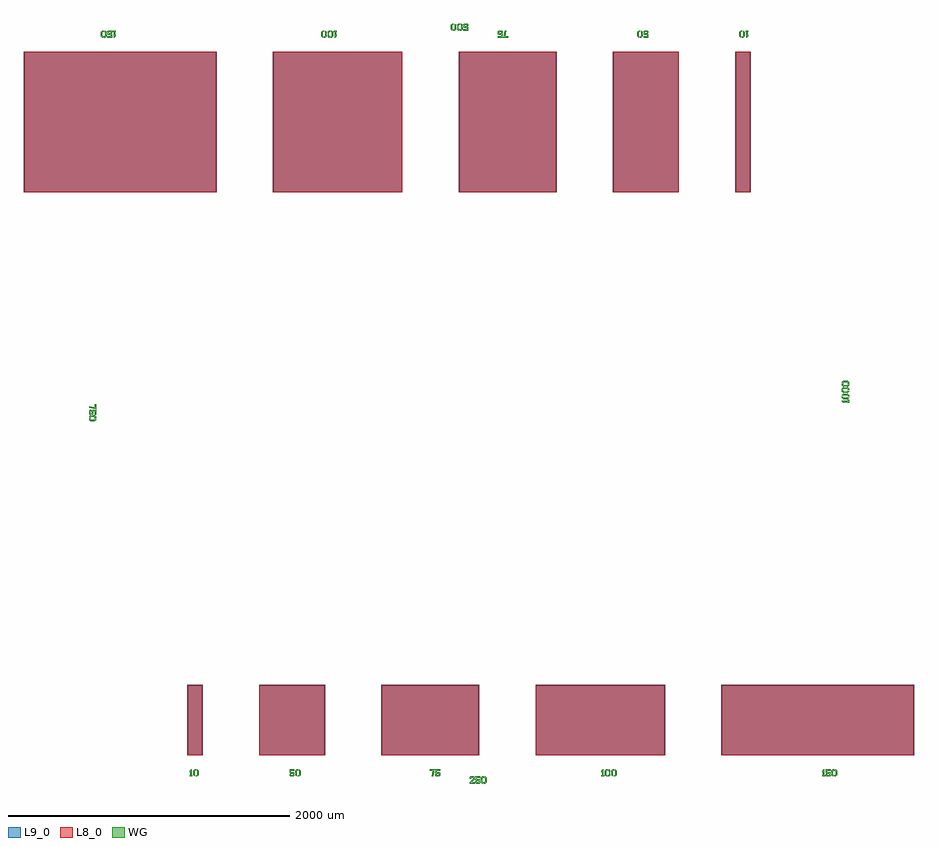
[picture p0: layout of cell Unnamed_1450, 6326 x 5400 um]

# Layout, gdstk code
from math import pi, radians
import gdstk
lib = gdstk.Library(unit=1e-6, precision=1e-09)
def R(c, l, rs):  # rectangles x0, y0, x1, y1
    for r in rs: c.add(gdstk.rectangle(r[:2], r[2:], *l))
def P(c, l, *ps):  # polygons
    for p in ps: c.add(gdstk.Polygon(p, *l))
WG = (1, 0)
L8_0 = (8, 0)
L9_0 = (9, 0)

unnamed_1446 = lib.new_cell('Unnamed_1446')

unnamed_1445 = lib.new_cell('Unnamed_1445')

unnamed_1449 = lib.new_cell('Unnamed_1449')

unnamed_1444 = lib.new_cell('Unnamed_1444')

text_t1000_s50_p0_0_jlef = lib.new_cell('text_T1000_S50_P0_0_Jleft_L1_0')
P(text_t1000_s50_p0_0_jlef, WG, [(48.5,0),(51,10),(55,10),(60,15),(60,35),(55,40),(57.5,50),(60,50),(70,40),(70,10),(60,0)],
  [(93.5,0),(96,10),(100,10),(105,15),(105,35),(100,40),(102.5,50),(105,50),(115,40),(115,10),(105,0)],
  [(138.5,0),(141,10),(145,10),(150,15),(150,35),(145,40),(147.5,50),(150,50),(160,40),(160,10),(150,0)],
  [(40,0),(30,10),(30,40),(40,50),(51.5,50),(49,40),(45,40),(40,35),(40,15),(45,10),(42.5,0)],
  [(85,0),(75,10),(75,40),(85,50),(96.5,50),(94,40),(90,40),(85,35),(85,15),(90,10),(87.5,0)],
  [(130,0),(120,10),(120,40),(130,50),(141.5,50),(139,40),(135,40),(130,35),(130,15),(135,10),(132.5,0)],
  [(5,0),(5,10),(10,10),(10,30),(5,30),(5,40),(15,50),(20,50),(20,10),(25,10),(25,0)])

unnamed_1443 = lib.new_cell('Unnamed_1443')
unnamed_1443.add(gdstk.Reference(text_t1000_s50_p0_0_jlef, (2500,-200)))

rectangle_s920_1000_l9__ = lib.new_cell('rectangle_S920_1000_L9__284379eb')
R(rectangle_s920_1000_l9__, L9_0, [(0,0,920,1000)])

text_t100_s50_p0_0_jleft = lib.new_cell('text_T100_S50_P0_0_Jleft_L1_0')
P(text_t100_s50_p0_0_jleft, WG, [(48.5,0),(51,10),(55,10),(60,15),(60,35),(55,40),(57.5,50),(60,50),(70,40),(70,10),(60,0)],
  [(93.5,0),(96,10),(100,10),(105,15),(105,35),(100,40),(102.5,50),(105,50),(115,40),(115,10),(105,0)],
  [(40,0),(30,10),(30,40),(40,50),(51.5,50),(49,40),(45,40),(40,35),(40,15),(45,10),(42.5,0)],
  [(85,0),(75,10),(75,40),(85,50),(96.5,50),(94,40),(90,40),(85,35),(85,15),(90,10),(87.5,0)],
  [(5,0),(5,10),(10,10),(10,30),(5,30),(5,40),(15,50),(20,50),(20,10),(25,10),(25,0)])

rectangle_s100_998_l8_0_ = lib.new_cell('rectangle_S100_998_L8_0_c306aa22')
R(rectangle_s100_998_l8_0_, L8_0, [(0,0,100,998)])

unnamed_1438 = lib.new_cell('Unnamed_1438')
unnamed_1438.add(gdstk.Reference(rectangle_s920_1000_l9__, (-2,0)))
unnamed_1438.add(gdstk.Reference(text_t100_s50_p0_0_jleft, (460,-150)))
unnamed_1438.add(gdstk.Reference(rectangle_s100_998_l8_0_, (0,0)))
unnamed_1438.add(gdstk.Reference(rectangle_s100_998_l8_0_, (102,0)))
unnamed_1438.add(gdstk.Reference(rectangle_s100_998_l8_0_, (204,0)))
unnamed_1438.add(gdstk.Reference(rectangle_s100_998_l8_0_, (306,0)))
unnamed_1438.add(gdstk.Reference(rectangle_s100_998_l8_0_, (408,0)))
unnamed_1438.add(gdstk.Reference(rectangle_s100_998_l8_0_, (510,0)))
unnamed_1438.add(gdstk.Reference(rectangle_s100_998_l8_0_, (612,0)))
unnamed_1438.add(gdstk.Reference(rectangle_s100_998_l8_0_, (714,0)))
unnamed_1438.add(gdstk.Reference(rectangle_s100_998_l8_0_, (816,0)))

rectangle_s695_1000_l9__ = lib.new_cell('rectangle_S695_1000_L9__77095997')
R(rectangle_s695_1000_l9__, L9_0, [(0,0,695,1000)])

text_t75_s50_p0_0_jleft_ = lib.new_cell('text_T75_S50_P0_0_Jleft_L1_0')
P(text_t75_s50_p0_0_jleft_, WG, [(50,0),(45,5),(45,15),(55,15),(55,10),(70,10),(70,20),(50,20),(45,25),(45,50),(80,50),(80,40),(55,40),(55,30),(75,30),(80,25),(80,5),(75,0)],
  [(20,0),(28,40),(5,40),(5,50),(40,50),(30,0)])

rectangle_s75_998_l8_0__ = lib.new_cell('rectangle_S75_998_L8_0__cc8ebacf')
R(rectangle_s75_998_l8_0__, L8_0, [(0,0,75,998)])

unnamed_1437 = lib.new_cell('Unnamed_1437')
unnamed_1437.add(gdstk.Reference(rectangle_s695_1000_l9__, (-2,0)))
unnamed_1437.add(gdstk.Reference(text_t75_s50_p0_0_jleft_, (335,-150)))
unnamed_1437.add(gdstk.Reference(rectangle_s75_998_l8_0__, (0,0)))
unnamed_1437.add(gdstk.Reference(rectangle_s75_998_l8_0__, (77,0)))
unnamed_1437.add(gdstk.Reference(rectangle_s75_998_l8_0__, (154,0)))
unnamed_1437.add(gdstk.Reference(rectangle_s75_998_l8_0__, (231,0)))
unnamed_1437.add(gdstk.Reference(rectangle_s75_998_l8_0__, (308,0)))
unnamed_1437.add(gdstk.Reference(rectangle_s75_998_l8_0__, (385,0)))
unnamed_1437.add(gdstk.Reference(rectangle_s75_998_l8_0__, (462,0)))
unnamed_1437.add(gdstk.Reference(rectangle_s75_998_l8_0__, (539,0)))
unnamed_1437.add(gdstk.Reference(rectangle_s75_998_l8_0__, (616,0)))

rectangle_s470_1000_l9__ = lib.new_cell('rectangle_S470_1000_L9__a4fb5179')
R(rectangle_s470_1000_l9__, L9_0, [(0,0,470,1000)])

text_t50_s50_p0_0_jleft_ = lib.new_cell('text_T50_S50_P0_0_Jleft_L1_0')
P(text_t50_s50_p0_0_jleft_, WG, [(63.5,0),(66,10),(70,10),(75,15),(75,35),(70,40),(72.5,50),(75,50),(85,40),(85,10),(75,0)],
  [(55,0),(45,10),(45,40),(55,50),(66.5,50),(64,40),(60,40),(55,35),(55,15),(60,10),(57.5,0)],
  [(10,0),(5,5),(5,15),(15,15),(15,10),(30,10),(30,20),(10,20),(5,25),(5,50),(40,50),(40,40),(15,40),(15,30),(35,30),(40,25),(40,5),(35,0)])

rectangle_s50_998_l8_0__ = lib.new_cell('rectangle_S50_998_L8_0__a3cc393b')
R(rectangle_s50_998_l8_0__, L8_0, [(0,0,50,998)])

unnamed_1436 = lib.new_cell('Unnamed_1436')
unnamed_1436.add(gdstk.Reference(rectangle_s470_1000_l9__, (-2,0)))
unnamed_1436.add(gdstk.Reference(text_t50_s50_p0_0_jleft_, (210,-150)))
unnamed_1436.add(gdstk.Reference(rectangle_s50_998_l8_0__, (0,0)))
unnamed_1436.add(gdstk.Reference(rectangle_s50_998_l8_0__, (52,0)))
unnamed_1436.add(gdstk.Reference(rectangle_s50_998_l8_0__, (104,0)))
unnamed_1436.add(gdstk.Reference(rectangle_s50_998_l8_0__, (156,0)))
unnamed_1436.add(gdstk.Reference(rectangle_s50_998_l8_0__, (208,0)))
unnamed_1436.add(gdstk.Reference(rectangle_s50_998_l8_0__, (260,0)))
unnamed_1436.add(gdstk.Reference(rectangle_s50_998_l8_0__, (312,0)))
unnamed_1436.add(gdstk.Reference(rectangle_s50_998_l8_0__, (364,0)))
unnamed_1436.add(gdstk.Reference(rectangle_s50_998_l8_0__, (416,0)))

rectangle_s1370_750_l9__ = lib.new_cell('rectangle_S1370_750_L9__3fc04380')
R(rectangle_s1370_750_l9__, L9_0, [(0,0,1370,750)])

text_t150_s50_p0_0_jleft = lib.new_cell('text_T150_S50_P0_0_Jleft_L1_0')
P(text_t150_s50_p0_0_jleft, WG, [(88.5,0),(91,10),(95,10),(100,15),(100,35),(95,40),(97.5,50),(100,50),(110,40),(110,10),(100,0)],
  [(80,0),(70,10),(70,40),(80,50),(91.5,50),(89,40),(85,40),(80,35),(80,15),(85,10),(82.5,0)],
  [(35,0),(30,5),(30,15),(40,15),(40,10),(55,10),(55,20),(35,20),(30,25),(30,50),(65,50),(65,40),(40,40),(40,30),(60,30),(65,25),(65,5),(60,0)],
  [(5,0),(5,10),(10,10),(10,30),(5,30),(5,40),(15,50),(20,50),(20,10),(25,10),(25,0)])

rectangle_s150_748_l8_0_ = lib.new_cell('rectangle_S150_748_L8_0_392cc59f')
R(rectangle_s150_748_l8_0_, L8_0, [(0,0,150,748)])

unnamed_1434 = lib.new_cell('Unnamed_1434')
unnamed_1434.add(gdstk.Reference(rectangle_s1370_750_l9__, (-2,0)))
unnamed_1434.add(gdstk.Reference(text_t150_s50_p0_0_jleft, (710,-150)))
unnamed_1434.add(gdstk.Reference(rectangle_s150_748_l8_0_, (0,0)))
unnamed_1434.add(gdstk.Reference(rectangle_s150_748_l8_0_, (152,0)))
unnamed_1434.add(gdstk.Reference(rectangle_s150_748_l8_0_, (304,0)))
unnamed_1434.add(gdstk.Reference(rectangle_s150_748_l8_0_, (456,0)))
unnamed_1434.add(gdstk.Reference(rectangle_s150_748_l8_0_, (608,0)))
unnamed_1434.add(gdstk.Reference(rectangle_s150_748_l8_0_, (760,0)))
unnamed_1434.add(gdstk.Reference(rectangle_s150_748_l8_0_, (912,0)))
unnamed_1434.add(gdstk.Reference(rectangle_s150_748_l8_0_, (1064,0)))
unnamed_1434.add(gdstk.Reference(rectangle_s150_748_l8_0_, (1216,0)))

rectangle_s920_750_l9_0_ = lib.new_cell('rectangle_S920_750_L9_0_32778c05')
R(rectangle_s920_750_l9_0_, L9_0, [(0,0,920,750)])

rectangle_s100_748_l8_0_ = lib.new_cell('rectangle_S100_748_L8_0_e52924da')
R(rectangle_s100_748_l8_0_, L8_0, [(0,0,100,748)])

unnamed_1433 = lib.new_cell('Unnamed_1433')
unnamed_1433.add(gdstk.Reference(rectangle_s920_750_l9_0_, (-2,0)))
unnamed_1433.add(gdstk.Reference(text_t100_s50_p0_0_jleft, (460,-150)))
unnamed_1433.add(gdstk.Reference(rectangle_s100_748_l8_0_, (0,0)))
unnamed_1433.add(gdstk.Reference(rectangle_s100_748_l8_0_, (102,0)))
unnamed_1433.add(gdstk.Reference(rectangle_s100_748_l8_0_, (204,0)))
unnamed_1433.add(gdstk.Reference(rectangle_s100_748_l8_0_, (306,0)))
unnamed_1433.add(gdstk.Reference(rectangle_s100_748_l8_0_, (408,0)))
unnamed_1433.add(gdstk.Reference(rectangle_s100_748_l8_0_, (510,0)))
unnamed_1433.add(gdstk.Reference(rectangle_s100_748_l8_0_, (612,0)))
unnamed_1433.add(gdstk.Reference(rectangle_s100_748_l8_0_, (714,0)))
unnamed_1433.add(gdstk.Reference(rectangle_s100_748_l8_0_, (816,0)))

rectangle_s470_750_l9_0_ = lib.new_cell('rectangle_S470_750_L9_0_3e5a7c6d')
R(rectangle_s470_750_l9_0_, L9_0, [(0,0,470,750)])

rectangle_s50_748_l8_0__ = lib.new_cell('rectangle_S50_748_L8_0__e69bb82a')
R(rectangle_s50_748_l8_0__, L8_0, [(0,0,50,748)])

unnamed_1431 = lib.new_cell('Unnamed_1431')
unnamed_1431.add(gdstk.Reference(rectangle_s470_750_l9_0_, (-2,0)))
unnamed_1431.add(gdstk.Reference(text_t50_s50_p0_0_jleft_, (210,-150)))
unnamed_1431.add(gdstk.Reference(rectangle_s50_748_l8_0__, (0,0)))
unnamed_1431.add(gdstk.Reference(rectangle_s50_748_l8_0__, (52,0)))
unnamed_1431.add(gdstk.Reference(rectangle_s50_748_l8_0__, (104,0)))
unnamed_1431.add(gdstk.Reference(rectangle_s50_748_l8_0__, (156,0)))
unnamed_1431.add(gdstk.Reference(rectangle_s50_748_l8_0__, (208,0)))
unnamed_1431.add(gdstk.Reference(rectangle_s50_748_l8_0__, (260,0)))
unnamed_1431.add(gdstk.Reference(rectangle_s50_748_l8_0__, (312,0)))
unnamed_1431.add(gdstk.Reference(rectangle_s50_748_l8_0__, (364,0)))
unnamed_1431.add(gdstk.Reference(rectangle_s50_748_l8_0__, (416,0)))

rectangle_s695_750_l9_0_ = lib.new_cell('rectangle_S695_750_L9_0_14645c84')
R(rectangle_s695_750_l9_0_, L9_0, [(0,0,695,750)])

rectangle_s75_748_l8_0__ = lib.new_cell('rectangle_S75_748_L8_0__21cc7b18')
R(rectangle_s75_748_l8_0__, L8_0, [(0,0,75,748)])

unnamed_1432 = lib.new_cell('Unnamed_1432')
unnamed_1432.add(gdstk.Reference(rectangle_s695_750_l9_0_, (-2,0)))
unnamed_1432.add(gdstk.Reference(text_t75_s50_p0_0_jleft_, (335,-150)))
unnamed_1432.add(gdstk.Reference(rectangle_s75_748_l8_0__, (0,0)))
unnamed_1432.add(gdstk.Reference(rectangle_s75_748_l8_0__, (77,0)))
unnamed_1432.add(gdstk.Reference(rectangle_s75_748_l8_0__, (154,0)))
unnamed_1432.add(gdstk.Reference(rectangle_s75_748_l8_0__, (231,0)))
unnamed_1432.add(gdstk.Reference(rectangle_s75_748_l8_0__, (308,0)))
unnamed_1432.add(gdstk.Reference(rectangle_s75_748_l8_0__, (385,0)))
unnamed_1432.add(gdstk.Reference(rectangle_s75_748_l8_0__, (462,0)))
unnamed_1432.add(gdstk.Reference(rectangle_s75_748_l8_0__, (539,0)))
unnamed_1432.add(gdstk.Reference(rectangle_s75_748_l8_0__, (616,0)))

rectangle_s110_1000_l9__ = lib.new_cell('rectangle_S110_1000_L9__b1e598cb')
R(rectangle_s110_1000_l9__, L9_0, [(0,0,110,1000)])

text_t10_s50_p0_0_jleft_ = lib.new_cell('text_T10_S50_P0_0_Jleft_L1_0')
P(text_t10_s50_p0_0_jleft_, WG, [(48.5,0),(51,10),(55,10),(60,15),(60,35),(55,40),(57.5,50),(60,50),(70,40),(70,10),(60,0)],
  [(40,0),(30,10),(30,40),(40,50),(51.5,50),(49,40),(45,40),(40,35),(40,15),(45,10),(42.5,0)],
  [(5,0),(5,10),(10,10),(10,30),(5,30),(5,40),(15,50),(20,50),(20,10),(25,10),(25,0)])

rectangle_s10_998_l8_0__ = lib.new_cell('rectangle_S10_998_L8_0__618c10ad')
R(rectangle_s10_998_l8_0__, L8_0, [(0,0,10,998)])

unnamed_1435 = lib.new_cell('Unnamed_1435')
unnamed_1435.add(gdstk.Reference(rectangle_s110_1000_l9__, (-2,0)))
unnamed_1435.add(gdstk.Reference(text_t10_s50_p0_0_jleft_, (10,-150)))
unnamed_1435.add(gdstk.Reference(rectangle_s10_998_l8_0__, (0,0)))
unnamed_1435.add(gdstk.Reference(rectangle_s10_998_l8_0__, (12,0)))
unnamed_1435.add(gdstk.Reference(rectangle_s10_998_l8_0__, (24,0)))
unnamed_1435.add(gdstk.Reference(rectangle_s10_998_l8_0__, (36,0)))
unnamed_1435.add(gdstk.Reference(rectangle_s10_998_l8_0__, (48,0)))
unnamed_1435.add(gdstk.Reference(rectangle_s10_998_l8_0__, (60,0)))
unnamed_1435.add(gdstk.Reference(rectangle_s10_998_l8_0__, (72,0)))
unnamed_1435.add(gdstk.Reference(rectangle_s10_998_l8_0__, (84,0)))
unnamed_1435.add(gdstk.Reference(rectangle_s10_998_l8_0__, (96,0)))

rectangle_s110_750_l9_0_ = lib.new_cell('rectangle_S110_750_L9_0_0d1aa5e2')
R(rectangle_s110_750_l9_0_, L9_0, [(0,0,110,750)])

rectangle_s10_748_l8_0__ = lib.new_cell('rectangle_S10_748_L8_0__afdd4900')
R(rectangle_s10_748_l8_0__, L8_0, [(0,0,10,748)])

unnamed_1430 = lib.new_cell('Unnamed_1430')
unnamed_1430.add(gdstk.Reference(rectangle_s110_750_l9_0_, (-2,0)))
unnamed_1430.add(gdstk.Reference(text_t10_s50_p0_0_jleft_, (10,-150)))
unnamed_1430.add(gdstk.Reference(rectangle_s10_748_l8_0__, (0,0)))
unnamed_1430.add(gdstk.Reference(rectangle_s10_748_l8_0__, (12,0)))
unnamed_1430.add(gdstk.Reference(rectangle_s10_748_l8_0__, (24,0)))
unnamed_1430.add(gdstk.Reference(rectangle_s10_748_l8_0__, (36,0)))
unnamed_1430.add(gdstk.Reference(rectangle_s10_748_l8_0__, (48,0)))
unnamed_1430.add(gdstk.Reference(rectangle_s10_748_l8_0__, (60,0)))
unnamed_1430.add(gdstk.Reference(rectangle_s10_748_l8_0__, (72,0)))
unnamed_1430.add(gdstk.Reference(rectangle_s10_748_l8_0__, (84,0)))
unnamed_1430.add(gdstk.Reference(rectangle_s10_748_l8_0__, (96,0)))

rectangle_s1370_1000_l9_ = lib.new_cell('rectangle_S1370_1000_L9_106310f3')
R(rectangle_s1370_1000_l9_, L9_0, [(0,0,1370,1000)])

rectangle_s150_998_l8_0_ = lib.new_cell('rectangle_S150_998_L8_0_cd40ac17')
R(rectangle_s150_998_l8_0_, L8_0, [(0,0,150,998)])

unnamed_1439 = lib.new_cell('Unnamed_1439')
unnamed_1439.add(gdstk.Reference(rectangle_s1370_1000_l9_, (-2,0)))
unnamed_1439.add(gdstk.Reference(text_t150_s50_p0_0_jleft, (710,-150)))
unnamed_1439.add(gdstk.Reference(rectangle_s150_998_l8_0_, (0,0)))
unnamed_1439.add(gdstk.Reference(rectangle_s150_998_l8_0_, (152,0)))
unnamed_1439.add(gdstk.Reference(rectangle_s150_998_l8_0_, (304,0)))
unnamed_1439.add(gdstk.Reference(rectangle_s150_998_l8_0_, (456,0)))
unnamed_1439.add(gdstk.Reference(rectangle_s150_998_l8_0_, (608,0)))
unnamed_1439.add(gdstk.Reference(rectangle_s150_998_l8_0_, (760,0)))
unnamed_1439.add(gdstk.Reference(rectangle_s150_998_l8_0_, (912,0)))
unnamed_1439.add(gdstk.Reference(rectangle_s150_998_l8_0_, (1064,0)))
unnamed_1439.add(gdstk.Reference(rectangle_s150_998_l8_0_, (1216,0)))

text_t500_s50_p0_0_jleft = lib.new_cell('text_T500_S50_P0_0_Jleft_L1_0')
P(text_t500_s50_p0_0_jleft, WG, [(63.5,0),(66,10),(70,10),(75,15),(75,35),(70,40),(72.5,50),(75,50),(85,40),(85,10),(75,0)],
  [(108.5,0),(111,10),(115,10),(120,15),(120,35),(115,40),(117.5,50),(120,50),(130,40),(130,10),(120,0)],
  [(55,0),(45,10),(45,40),(55,50),(66.5,50),(64,40),(60,40),(55,35),(55,15),(60,10),(57.5,0)],
  [(100,0),(90,10),(90,40),(100,50),(111.5,50),(109,40),(105,40),(100,35),(100,15),(105,10),(102.5,0)],
  [(10,0),(5,5),(5,15),(15,15),(15,10),(30,10),(30,20),(10,20),(5,25),(5,50),(40,50),(40,40),(15,40),(15,30),(35,30),(40,25),(40,5),(35,0)])

unnamed_1441 = lib.new_cell('Unnamed_1441')
unnamed_1441.add(gdstk.Reference(unnamed_1438, (2975,0)))
unnamed_1441.add(gdstk.Reference(unnamed_1437, (1880,0)))
unnamed_1441.add(gdstk.Reference(unnamed_1436, (1010,0)))
unnamed_1441.add(gdstk.Reference(unnamed_1434, (4295,0)))
unnamed_1441.add(gdstk.Reference(unnamed_1433, (2975,0)))
unnamed_1441.add(gdstk.Reference(unnamed_1431, (1010,0)))
unnamed_1441.add(gdstk.Reference(unnamed_1432, (1880,0)))
unnamed_1441.add(gdstk.Reference(unnamed_1435, (500,0)))
unnamed_1441.add(gdstk.Reference(unnamed_1430, (500,0)))
unnamed_1441.add(gdstk.Reference(unnamed_1439, (4295,0)))
unnamed_1441.add(gdstk.Reference(text_t500_s50_p0_0_jleft, (2500,-200)))

unnamed_1448 = lib.new_cell('Unnamed_1448')

unnamed_1447 = lib.new_cell('Unnamed_1447')

text_t750_s50_p0_0_jleft = lib.new_cell('text_T750_S50_P0_0_Jleft_L1_0')
P(text_t750_s50_p0_0_jleft, WG, [(95,0),(85,10),(85,40),(95,50),(106.5,50),(104,40),(100,40),(95,35),(95,15),(100,10),(97.5,0)],
  [(50,0),(45,5),(45,15),(55,15),(55,10),(70,10),(70,20),(50,20),(45,25),(45,50),(80,50),(80,40),(55,40),(55,30),(75,30),(80,25),(80,5),(75,0)],
  [(103.5,0),(106,10),(110,10),(115,15),(115,35),(110,40),(112.5,50),(115,50),(125,40),(125,10),(115,0)],
  [(20,0),(28,40),(5,40),(5,50),(40,50),(30,0)])

unnamed_1442 = lib.new_cell('Unnamed_1442')
unnamed_1442.add(gdstk.Reference(text_t750_s50_p0_0_jleft, (2500,-200)))

rectangle_s1370_500_l9__ = lib.new_cell('rectangle_S1370_500_L9__5971b1e9')
R(rectangle_s1370_500_l9__, L9_0, [(0,0,1370,500)])

rectangle_s150_498_l8_0_ = lib.new_cell('rectangle_S150_498_L8_0_3344f8a4')
R(rectangle_s150_498_l8_0_, L8_0, [(0,0,150,498)])

unnamed_1429 = lib.new_cell('Unnamed_1429')
unnamed_1429.add(gdstk.Reference(text_t150_s50_p0_0_jleft, (710,-150)))
unnamed_1429.add(gdstk.Reference(rectangle_s1370_500_l9__, (-2,0)))
unnamed_1429.add(gdstk.Reference(rectangle_s150_498_l8_0_, (0,0)))
unnamed_1429.add(gdstk.Reference(rectangle_s150_498_l8_0_, (152,0)))
unnamed_1429.add(gdstk.Reference(rectangle_s150_498_l8_0_, (304,0)))
unnamed_1429.add(gdstk.Reference(rectangle_s150_498_l8_0_, (456,0)))
unnamed_1429.add(gdstk.Reference(rectangle_s150_498_l8_0_, (608,0)))
unnamed_1429.add(gdstk.Reference(rectangle_s150_498_l8_0_, (760,0)))
unnamed_1429.add(gdstk.Reference(rectangle_s150_498_l8_0_, (912,0)))
unnamed_1429.add(gdstk.Reference(rectangle_s150_498_l8_0_, (1064,0)))
unnamed_1429.add(gdstk.Reference(rectangle_s150_498_l8_0_, (1216,0)))

rectangle_s110_500_l9_0_ = lib.new_cell('rectangle_S110_500_L9_0_3497d986')
R(rectangle_s110_500_l9_0_, L9_0, [(0,0,110,500)])

rectangle_s10_498_l8_0__ = lib.new_cell('rectangle_S10_498_L8_0__ad3ec932')
R(rectangle_s10_498_l8_0__, L8_0, [(0,0,10,498)])

unnamed_1425 = lib.new_cell('Unnamed_1425')
unnamed_1425.add(gdstk.Reference(rectangle_s110_500_l9_0_, (-2,0)))
unnamed_1425.add(gdstk.Reference(text_t10_s50_p0_0_jleft_, (10,-150)))
unnamed_1425.add(gdstk.Reference(rectangle_s10_498_l8_0__, (0,0)))
unnamed_1425.add(gdstk.Reference(rectangle_s10_498_l8_0__, (12,0)))
unnamed_1425.add(gdstk.Reference(rectangle_s10_498_l8_0__, (24,0)))
unnamed_1425.add(gdstk.Reference(rectangle_s10_498_l8_0__, (36,0)))
unnamed_1425.add(gdstk.Reference(rectangle_s10_498_l8_0__, (48,0)))
unnamed_1425.add(gdstk.Reference(rectangle_s10_498_l8_0__, (60,0)))
unnamed_1425.add(gdstk.Reference(rectangle_s10_498_l8_0__, (72,0)))
unnamed_1425.add(gdstk.Reference(rectangle_s10_498_l8_0__, (84,0)))
unnamed_1425.add(gdstk.Reference(rectangle_s10_498_l8_0__, (96,0)))

rectangle_s920_500_l9_0_ = lib.new_cell('rectangle_S920_500_L9_0_e7e50f14')
R(rectangle_s920_500_l9_0_, L9_0, [(0,0,920,500)])

rectangle_s100_498_l8_0_ = lib.new_cell('rectangle_S100_498_L8_0_8e44272a')
R(rectangle_s100_498_l8_0_, L8_0, [(0,0,100,498)])

unnamed_1428 = lib.new_cell('Unnamed_1428')
unnamed_1428.add(gdstk.Reference(rectangle_s920_500_l9_0_, (-2,0)))
unnamed_1428.add(gdstk.Reference(text_t100_s50_p0_0_jleft, (460,-150)))
unnamed_1428.add(gdstk.Reference(rectangle_s100_498_l8_0_, (0,0)))
unnamed_1428.add(gdstk.Reference(rectangle_s100_498_l8_0_, (102,0)))
unnamed_1428.add(gdstk.Reference(rectangle_s100_498_l8_0_, (204,0)))
unnamed_1428.add(gdstk.Reference(rectangle_s100_498_l8_0_, (306,0)))
unnamed_1428.add(gdstk.Reference(rectangle_s100_498_l8_0_, (408,0)))
unnamed_1428.add(gdstk.Reference(rectangle_s100_498_l8_0_, (510,0)))
unnamed_1428.add(gdstk.Reference(rectangle_s100_498_l8_0_, (612,0)))
unnamed_1428.add(gdstk.Reference(rectangle_s100_498_l8_0_, (714,0)))
unnamed_1428.add(gdstk.Reference(rectangle_s100_498_l8_0_, (816,0)))

text_t250_s50_p0_0_jleft = lib.new_cell('text_T250_S50_P0_0_Jleft_L1_0')
P(text_t250_s50_p0_0_jleft, WG, [(95,0),(85,10),(85,40),(95,50),(106.5,50),(104,40),(100,40),(95,35),(95,15),(100,10),(97.5,0)],
  [(50,0),(45,5),(45,15),(55,15),(55,10),(70,10),(70,20),(50,20),(45,25),(45,50),(80,50),(80,40),(55,40),(55,30),(75,30),(80,25),(80,5),(75,0)],
  [(103.5,0),(106,10),(110,10),(115,15),(115,35),(110,40),(112.5,50),(115,50),(125,40),(125,10),(115,0)],
  [(5,0),(5,10),(30,35),(30,40),(15,40),(15,35),(5,35),(5,45),(10,50),(35,50),(40,45),(40,30),(20,10),(40,10),(40,0)])

rectangle_s470_250_l9_0_ = lib.new_cell('rectangle_S470_250_L9_0_21b068b2')
R(rectangle_s470_250_l9_0_, L9_0, [(0,0,470,250)])

rectangle_s50_248_l8_0__ = lib.new_cell('rectangle_S50_248_L8_0__6a217ae2')
R(rectangle_s50_248_l8_0__, L8_0, [(0,0,50,248)])

unnamed_1421 = lib.new_cell('Unnamed_1421')
unnamed_1421.add(gdstk.Reference(text_t50_s50_p0_0_jleft_, (210,-150)))
unnamed_1421.add(gdstk.Reference(rectangle_s470_250_l9_0_, (-2,0)))
unnamed_1421.add(gdstk.Reference(rectangle_s50_248_l8_0__, (0,0)))
unnamed_1421.add(gdstk.Reference(rectangle_s50_248_l8_0__, (52,0)))
unnamed_1421.add(gdstk.Reference(rectangle_s50_248_l8_0__, (104,0)))
unnamed_1421.add(gdstk.Reference(rectangle_s50_248_l8_0__, (156,0)))
unnamed_1421.add(gdstk.Reference(rectangle_s50_248_l8_0__, (208,0)))
unnamed_1421.add(gdstk.Reference(rectangle_s50_248_l8_0__, (260,0)))
unnamed_1421.add(gdstk.Reference(rectangle_s50_248_l8_0__, (312,0)))
unnamed_1421.add(gdstk.Reference(rectangle_s50_248_l8_0__, (364,0)))
unnamed_1421.add(gdstk.Reference(rectangle_s50_248_l8_0__, (416,0)))

rectangle_s1370_250_l9__ = lib.new_cell('rectangle_S1370_250_L9__a3b011a3')
R(rectangle_s1370_250_l9__, L9_0, [(0,0,1370,250)])

rectangle_s150_248_l8_0_ = lib.new_cell('rectangle_S150_248_L8_0_45914063')
R(rectangle_s150_248_l8_0_, L8_0, [(0,0,150,248)])

unnamed_1424 = lib.new_cell('Unnamed_1424')
unnamed_1424.add(gdstk.Reference(rectangle_s1370_250_l9__, (-2,0)))
unnamed_1424.add(gdstk.Reference(text_t150_s50_p0_0_jleft, (710,-150)))
unnamed_1424.add(gdstk.Reference(rectangle_s150_248_l8_0_, (0,0)))
unnamed_1424.add(gdstk.Reference(rectangle_s150_248_l8_0_, (152,0)))
unnamed_1424.add(gdstk.Reference(rectangle_s150_248_l8_0_, (304,0)))
unnamed_1424.add(gdstk.Reference(rectangle_s150_248_l8_0_, (456,0)))
unnamed_1424.add(gdstk.Reference(rectangle_s150_248_l8_0_, (608,0)))
unnamed_1424.add(gdstk.Reference(rectangle_s150_248_l8_0_, (760,0)))
unnamed_1424.add(gdstk.Reference(rectangle_s150_248_l8_0_, (912,0)))
unnamed_1424.add(gdstk.Reference(rectangle_s150_248_l8_0_, (1064,0)))
unnamed_1424.add(gdstk.Reference(rectangle_s150_248_l8_0_, (1216,0)))

rectangle_s470_500_l9_0_ = lib.new_cell('rectangle_S470_500_L9_0_f8156cb1')
R(rectangle_s470_500_l9_0_, L9_0, [(0,0,470,500)])

rectangle_s50_498_l8_0__ = lib.new_cell('rectangle_S50_498_L8_0__cadecadc')
R(rectangle_s50_498_l8_0__, L8_0, [(0,0,50,498)])

unnamed_1426 = lib.new_cell('Unnamed_1426')
unnamed_1426.add(gdstk.Reference(rectangle_s470_500_l9_0_, (-2,0)))
unnamed_1426.add(gdstk.Reference(text_t50_s50_p0_0_jleft_, (210,-150)))
unnamed_1426.add(gdstk.Reference(rectangle_s50_498_l8_0__, (0,0)))
unnamed_1426.add(gdstk.Reference(rectangle_s50_498_l8_0__, (52,0)))
unnamed_1426.add(gdstk.Reference(rectangle_s50_498_l8_0__, (104,0)))
unnamed_1426.add(gdstk.Reference(rectangle_s50_498_l8_0__, (156,0)))
unnamed_1426.add(gdstk.Reference(rectangle_s50_498_l8_0__, (208,0)))
unnamed_1426.add(gdstk.Reference(rectangle_s50_498_l8_0__, (260,0)))
unnamed_1426.add(gdstk.Reference(rectangle_s50_498_l8_0__, (312,0)))
unnamed_1426.add(gdstk.Reference(rectangle_s50_498_l8_0__, (364,0)))
unnamed_1426.add(gdstk.Reference(rectangle_s50_498_l8_0__, (416,0)))

rectangle_s920_250_l9_0_ = lib.new_cell('rectangle_S920_250_L9_0_6d8bc743')
R(rectangle_s920_250_l9_0_, L9_0, [(0,0,920,250)])

rectangle_s100_248_l8_0_ = lib.new_cell('rectangle_S100_248_L8_0_ec6efe2a')
R(rectangle_s100_248_l8_0_, L8_0, [(0,0,100,248)])

unnamed_1423 = lib.new_cell('Unnamed_1423')
unnamed_1423.add(gdstk.Reference(rectangle_s920_250_l9_0_, (-2,0)))
unnamed_1423.add(gdstk.Reference(text_t100_s50_p0_0_jleft, (460,-150)))
unnamed_1423.add(gdstk.Reference(rectangle_s100_248_l8_0_, (0,0)))
unnamed_1423.add(gdstk.Reference(rectangle_s100_248_l8_0_, (102,0)))
unnamed_1423.add(gdstk.Reference(rectangle_s100_248_l8_0_, (204,0)))
unnamed_1423.add(gdstk.Reference(rectangle_s100_248_l8_0_, (306,0)))
unnamed_1423.add(gdstk.Reference(rectangle_s100_248_l8_0_, (408,0)))
unnamed_1423.add(gdstk.Reference(rectangle_s100_248_l8_0_, (510,0)))
unnamed_1423.add(gdstk.Reference(rectangle_s100_248_l8_0_, (612,0)))
unnamed_1423.add(gdstk.Reference(rectangle_s100_248_l8_0_, (714,0)))
unnamed_1423.add(gdstk.Reference(rectangle_s100_248_l8_0_, (816,0)))

rectangle_s695_250_l9_0_ = lib.new_cell('rectangle_S695_250_L9_0_e4008ba6')
R(rectangle_s695_250_l9_0_, L9_0, [(0,0,695,250)])

rectangle_s75_248_l8_0__ = lib.new_cell('rectangle_S75_248_L8_0__2b17ab04')
R(rectangle_s75_248_l8_0__, L8_0, [(0,0,75,248)])

unnamed_1422 = lib.new_cell('Unnamed_1422')
unnamed_1422.add(gdstk.Reference(rectangle_s695_250_l9_0_, (-2,0)))
unnamed_1422.add(gdstk.Reference(text_t75_s50_p0_0_jleft_, (335,-150)))
unnamed_1422.add(gdstk.Reference(rectangle_s75_248_l8_0__, (0,0)))
unnamed_1422.add(gdstk.Reference(rectangle_s75_248_l8_0__, (77,0)))
unnamed_1422.add(gdstk.Reference(rectangle_s75_248_l8_0__, (154,0)))
unnamed_1422.add(gdstk.Reference(rectangle_s75_248_l8_0__, (231,0)))
unnamed_1422.add(gdstk.Reference(rectangle_s75_248_l8_0__, (308,0)))
unnamed_1422.add(gdstk.Reference(rectangle_s75_248_l8_0__, (385,0)))
unnamed_1422.add(gdstk.Reference(rectangle_s75_248_l8_0__, (462,0)))
unnamed_1422.add(gdstk.Reference(rectangle_s75_248_l8_0__, (539,0)))
unnamed_1422.add(gdstk.Reference(rectangle_s75_248_l8_0__, (616,0)))

rectangle_s695_500_l9_0_ = lib.new_cell('rectangle_S695_500_L9_0_1ae41fd4')
R(rectangle_s695_500_l9_0_, L9_0, [(0,0,695,500)])

rectangle_s75_498_l8_0__ = lib.new_cell('rectangle_S75_498_L8_0__5f6cecd9')
R(rectangle_s75_498_l8_0__, L8_0, [(0,0,75,498)])

unnamed_1427 = lib.new_cell('Unnamed_1427')
unnamed_1427.add(gdstk.Reference(rectangle_s695_500_l9_0_, (-2,0)))
unnamed_1427.add(gdstk.Reference(text_t75_s50_p0_0_jleft_, (335,-150)))
unnamed_1427.add(gdstk.Reference(rectangle_s75_498_l8_0__, (0,0)))
unnamed_1427.add(gdstk.Reference(rectangle_s75_498_l8_0__, (77,0)))
unnamed_1427.add(gdstk.Reference(rectangle_s75_498_l8_0__, (154,0)))
unnamed_1427.add(gdstk.Reference(rectangle_s75_498_l8_0__, (231,0)))
unnamed_1427.add(gdstk.Reference(rectangle_s75_498_l8_0__, (308,0)))
unnamed_1427.add(gdstk.Reference(rectangle_s75_498_l8_0__, (385,0)))
unnamed_1427.add(gdstk.Reference(rectangle_s75_498_l8_0__, (462,0)))
unnamed_1427.add(gdstk.Reference(rectangle_s75_498_l8_0__, (539,0)))
unnamed_1427.add(gdstk.Reference(rectangle_s75_498_l8_0__, (616,0)))

rectangle_s110_250_l9_0_ = lib.new_cell('rectangle_S110_250_L9_0_ed3c4817')
R(rectangle_s110_250_l9_0_, L9_0, [(0,0,110,250)])

rectangle_s10_248_l8_0__ = lib.new_cell('rectangle_S10_248_L8_0__7390707e')
R(rectangle_s10_248_l8_0__, L8_0, [(0,0,10,248)])

unnamed_1420 = lib.new_cell('Unnamed_1420')
unnamed_1420.add(gdstk.Reference(rectangle_s110_250_l9_0_, (-2,0)))
unnamed_1420.add(gdstk.Reference(text_t10_s50_p0_0_jleft_, (10,-150)))
unnamed_1420.add(gdstk.Reference(rectangle_s10_248_l8_0__, (0,0)))
unnamed_1420.add(gdstk.Reference(rectangle_s10_248_l8_0__, (12,0)))
unnamed_1420.add(gdstk.Reference(rectangle_s10_248_l8_0__, (24,0)))
unnamed_1420.add(gdstk.Reference(rectangle_s10_248_l8_0__, (36,0)))
unnamed_1420.add(gdstk.Reference(rectangle_s10_248_l8_0__, (48,0)))
unnamed_1420.add(gdstk.Reference(rectangle_s10_248_l8_0__, (60,0)))
unnamed_1420.add(gdstk.Reference(rectangle_s10_248_l8_0__, (72,0)))
unnamed_1420.add(gdstk.Reference(rectangle_s10_248_l8_0__, (84,0)))
unnamed_1420.add(gdstk.Reference(rectangle_s10_248_l8_0__, (96,0)))

unnamed_1440 = lib.new_cell('Unnamed_1440')
unnamed_1440.add(gdstk.Reference(unnamed_1429, (4295,0)))
unnamed_1440.add(gdstk.Reference(unnamed_1425, (500,0)))
unnamed_1440.add(gdstk.Reference(unnamed_1428, (2975,0)))
unnamed_1440.add(gdstk.Reference(text_t250_s50_p0_0_jleft, (2500,-200)))
unnamed_1440.add(gdstk.Reference(unnamed_1421, (1010,0)))
unnamed_1440.add(gdstk.Reference(unnamed_1424, (4295,0)))
unnamed_1440.add(gdstk.Reference(unnamed_1426, (1010,0)))
unnamed_1440.add(gdstk.Reference(unnamed_1423, (2975,0)))
unnamed_1440.add(gdstk.Reference(unnamed_1422, (1880,0)))
unnamed_1440.add(gdstk.Reference(unnamed_1427, (1880,0)))
unnamed_1440.add(gdstk.Reference(unnamed_1420, (500,0)))

unnamed_1450 = lib.new_cell('Unnamed_1450')
unnamed_1450.add(gdstk.Reference(unnamed_1446, (5000,0), rotation=pi/2))
unnamed_1450.add(gdstk.Reference(unnamed_1445, (5000,0), rotation=pi/2))
unnamed_1450.add(gdstk.Reference(unnamed_1449, (5000,0), rotation=pi/2))
unnamed_1450.add(gdstk.Reference(unnamed_1444, (5000,0), rotation=pi/2))
unnamed_1450.add(gdstk.Reference(unnamed_1443, (5000,0), rotation=pi/2))
unnamed_1450.add(gdstk.Reference(unnamed_1441, (5000,5000), rotation=pi))
unnamed_1450.add(gdstk.Reference(unnamed_1448, (5000,0), rotation=pi/2))
unnamed_1450.add(gdstk.Reference(unnamed_1447, (5000,0), rotation=pi/2))
unnamed_1450.add(gdstk.Reference(unnamed_1442, (0,5000), rotation=3*pi/2))
unnamed_1450.add(gdstk.Reference(unnamed_1440, (0,0)))

lib.write_gds('Unnamed_1450.gds')
